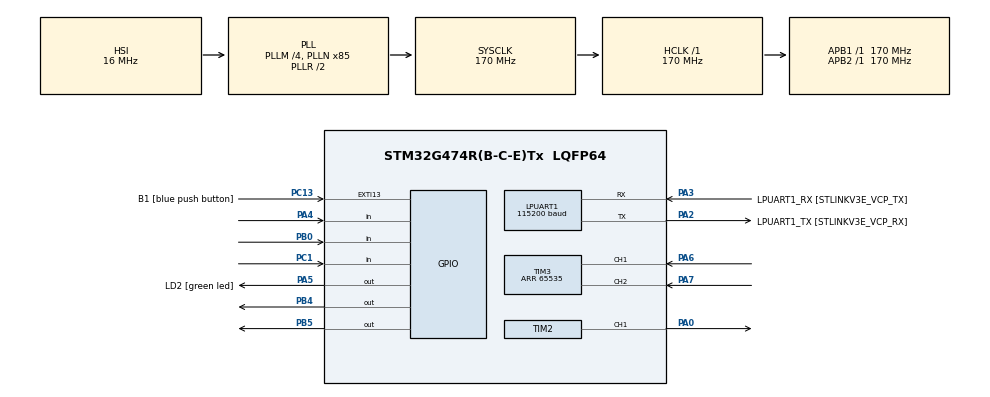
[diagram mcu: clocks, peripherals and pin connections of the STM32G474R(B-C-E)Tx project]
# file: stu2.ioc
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ARM.CMSIS-DSP.1.15.0.CMSISJjDSP=Source
LPUART1.BaudRate=115200
LPUART1.WordLength=UART_WORDLENGTH_8B
Mcu.Family=STM32G4
Mcu.Name=STM32G474R(B-C-E)Tx
Mcu.Package=LQFP64
NVIC.EXTI15_10_IRQn=true\:0\:0\:false\:false\:true\:true\:true\:true
NVIC.PriorityGroup=NVIC_PRIORITYGROUP_4
NVIC.TIM5_IRQn=true\:0\:0\:false\:false\:true\:true\:true\:true
PA0.Signal=S_TIM2_CH1
PA13.GPIO_Label=T_SWDIO
PA13.Mode=Trace_Asynchronous_SW
PA13.Signal=SYS_JTMS-SWDIO
PA14.GPIO_Label=T_SWCLK
PA14.Mode=Trace_Asynchronous_SW
PA14.Signal=SYS_JTCK-SWCLK
PA2.GPIO_Label=LPUART1_TX [STLINKV3E_VCP_RX]
PA2.Mode=Asynchronous
PA2.Signal=LPUART1_TX
PA3.GPIO_Label=LPUART1_RX [STLINKV3E_VCP_TX]
PA3.Mode=Asynchronous
PA3.Signal=LPUART1_RX
PA4.GPIO_PuPd=GPIO_PULLUP
PA4.Signal=GPIO_Input
PA5.GPIO_Label=LD2 [green led]
PA5.Signal=GPIO_Output
PA6.Signal=S_TIM3_CH1
PA7.Signal=S_TIM3_CH2
PB0.GPIO_PuPd=GPIO_PULLUP
PB0.Signal=GPIO_Input
PB3.GPIO_Label=T_SWO
PB3.Mode=Trace_Asynchronous_SW
PB3.Signal=SYS_JTDO-SWO
PB4.Signal=GPIO_Output
PB5.Signal=GPIO_Output
PC1.GPIO_PuPd=GPIO_PULLUP
PC1.Signal=GPIO_Input
PC13.GPIO_Label=B1 [blue push button]
PC13.Signal=GPXTI13
PC14-OSC32_IN.Mode=LSE-External-Oscillator
PC14-OSC32_IN.Signal=RCC_OSC32_IN
PC15-OSC32_OUT.Mode=LSE-External-Oscillator
PC15-OSC32_OUT.Signal=RCC_OSC32_OUT
PF0-OSC_IN.Mode=HSE-External-Oscillator
PF0-OSC_IN.Signal=RCC_OSC_IN
PF1-OSC_OUT.Mode=HSE-External-Oscillator
PF1-OSC_OUT.Signal=RCC_OSC_OUT
ProjectManager.HeapSize=0x200
ProjectManager.StackSize=0x400
ProjectManager.TargetToolchain=STM32CubeIDE
RCC.ADC12Freq_Value=170000000
RCC.ADC345Freq_Value=170000000
RCC.AHBFreq_Value=170000000
RCC.APB1Freq_Value=170000000
RCC.APB1TimFreq_Value=170000000
RCC.APB2Freq_Value=170000000
RCC.APB2TimFreq_Value=170000000
RCC.CortexFreq_Value=170000000
RCC.EXTERNAL_CLOCK_VALUE=12288000
RCC.HCLKFreq_Value=170000000
RCC.HSE_VALUE=24000000
RCC.HSI48_VALUE=48000000
RCC.HSI_VALUE=16000000
RCC.PLLM=RCC_PLLM_DIV4
RCC.PLLN=85
RCC.RTCClockSelection=RCC_RTCCLKSOURCE_LSE
RCC.SYSCLKFreq_VALUE=170000000
RCC.SYSCLKSource=RCC_SYSCLKSOURCE_PLLCLK
RCC.USBFreq_Value=170000000
RCC.VCOOutputFreq_Value=340000000
SH.S_TIM2_CH1.0=TIM2_CH1,PWM Generation1 CH1
SH.S_TIM3_CH1.0=TIM3_CH1,Encoder_Interface
SH.S_TIM3_CH2.0=TIM3_CH2,Encoder_Interface
TIM2.Channel-PWM\ Generation1\ CH1=TIM_CHANNEL_1
TIM2.PeriodNoDither=1000
TIM2.Prescaler=17-1
TIM3.EncoderMode=TIM_ENCODERMODE_X1_TI1
TIM3.PeriodNoDither=65535
TIM5.PeriodNoDither=1000
TIM5.Prescaler=170-1
TIM5.TIM_MasterOutputTrigger=TIM_TRGO_RESET
VP_ARM.CMSIS-DSP_VS_CMSISJjDSP_1.15.0_1.15.0.Mode=CMSISJjDSP
VP_SYS_VS_DBSignals.Mode=DisableDeadBatterySignals
VP_TIM2_VS_ClockSourceINT.Mode=Internal
VP_TIM5_VS_ClockSourceINT.Mode=Internal
board=NUCLEO-G474RE

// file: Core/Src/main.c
/* USER CODE BEGIN Header */
/**
  ******************************************************************************
  * @file           : main.c
  * @brief          : Main program body
  ******************************************************************************
  * @attention
  *
  * Copyright (c) 2024 STMicroelectronics.
  * All rights reserved.
  *
  * This software is licensed under terms that can be found in the LICENSE file
  * in the root directory of this software component.
  * If no LICENSE file comes with this software, it is provided AS-IS.
  *
  ******************************************************************************
  */
/* USER CODE END Header */
#include "main.h"

/* USER CODE BEGIN Includes */
#include "arm_math.h"
/* USER CODE END Includes */

UART_HandleTypeDef hlpuart1;

TIM_HandleTypeDef htim2;
TIM_HandleTypeDef htim3;
TIM_HandleTypeDef htim5;

/* USER CODE BEGIN PV */
arm_pid_instance_f32 PID = {0};

int16_t QEIReadRaw;
int16_t QEIReadOld;
int32_t pos;
int32_t spd;
int32_t set_pos; //posi encdoder
int16_t ch1;
int16_t ch2;

float Vfeedback = 0;

int16_t posi; //mm

float setSpd;//0-1000 (for real 500)
float setSpd_joy;

int32_t maxSpd;
int32_t posMM; //pos -> posMM

int b1;
int state_b1;

int state;

int b2;
int state_b2;

int b3;
int state_b3;

int mode;
int bm;

/* USER CODE END PV */

void SystemClock_Config(void);
static void MX_GPIO_Init(void);
static void MX_LPUART1_UART_Init(void);
static void MX_TIM3_Init(void);
static void MX_TIM5_Init(void);
static void MX_TIM2_Init(void);

int main(void)
{

  /* MCU Configuration--------------------------------------------------------*/

  /* Reset of all peripherals, Initializes the Flash interface and the Systick. */
  HAL_Init();

  /* Configure the system clock */
  SystemClock_Config();

  /* Initialize all configured peripherals */
  MX_GPIO_Init();
  MX_LPUART1_UART_Init();
  MX_TIM3_Init();
  MX_TIM5_Init();
  MX_TIM2_Init();
  /* USER CODE BEGIN 2 */
  HAL_TIM_Encoder_Start(&htim3,TIM_CHANNEL_ALL);
  HAL_TIM_Base_Start_IT(&htim5);
  HAL_TIM_PWM_Start(&htim2, TIM_CHANNEL_1);
  HAL_TIM_PWM_Start(&htim2, TIM_CHANNEL_2);

  PID.Kp = 0.001;
  PID.Ki = 0;
  PID.Kd = 0;
  arm_pid_init_f32(&PID, 0);
  /* USER CODE END 2 */

  /* Infinite loop */
  while (1)
  {

    /* USER CODE BEGIN 3 */

	  bm = HAL_GPIO_ReadPin(GPIOC, GPIO_PIN_13);
	  b3 = HAL_GPIO_ReadPin(GPIOA, GPIO_PIN_4);
	  b2 = HAL_GPIO_ReadPin(GPIOB, GPIO_PIN_0);
	  b1 = HAL_GPIO_ReadPin(GPIOC, GPIO_PIN_1);
	  arm_pid_init_f32(&PID, 0);
	  setSpd = 500;
	  state_b1 = 0;
	  state_b2 = 0;

//	  if(bm == 1){
//		  state = 1;
//
//	  }
//	  if(state == 1){
//	  	state = 0;
//	  	if(bm == 0){
//	  		mode = !mode;
//	  	}
//	  }

//	  }else if(bm == 0){state = 0;}

	  if(mode == 0){
	  if(spd > maxSpd)
	  		  {
	  			  maxSpd = spd;
	  		  }

	  	  	  posMM = pos / 250 * 8 / 1;

	  		  set_pos = posi * 250 / 8 * 1;
	  		  if(Vfeedback > setSpd){
	  			  Vfeedback = setSpd;
	  		  }
	  		  if(Vfeedback < -setSpd){
	  			Vfeedback = -setSpd;
	  		  }

	  		  if(Vfeedback > 0)
	  		  {
	  			  HAL_GPIO_WritePin(GPIOB, GPIO_PIN_4, SET);
	  			  HAL_GPIO_WritePin(GPIOB, GPIO_PIN_5, RESET);
	  			  __HAL_TIM_SET_COMPARE(&htim2, TIM_CHANNEL_1, Vfeedback);
	  		  }
	  		  else
	  		  {
	  			  HAL_GPIO_WritePin(GPIOB, GPIO_PIN_4, RESET);
	  			  HAL_GPIO_WritePin(GPIOB, GPIO_PIN_5, SET);
	  			  __HAL_TIM_SET_COMPARE(&htim2, TIM_CHANNEL_1, -Vfeedback);
	  		  }
	  }
	  else if(mode == 1){
		  Joy_control();
	  }
//	  		  MODE_1st();

  }
  /* USER CODE END 3 */
}

void SystemClock_Config(void)
{
  RCC_OscInitTypeDef RCC_OscInitStruct = {0};
  RCC_ClkInitTypeDef RCC_ClkInitStruct = {0};

  /** Configure the main internal regulator output voltage
  */
  HAL_PWREx_ControlVoltageScaling(PWR_REGULATOR_VOLTAGE_SCALE1_BOOST);

  /** Initializes the RCC Oscillators according to the specified parameters
  * in the RCC_OscInitTypeDef structure.
  */
  RCC_OscInitStruct.OscillatorType = RCC_OSCILLATORTYPE_HSI;
  RCC_OscInitStruct.HSIState = RCC_HSI_ON;
  RCC_OscInitStruct.HSICalibrationValue = RCC_HSICALIBRATION_DEFAULT;
  RCC_OscInitStruct.PLL.PLLState = RCC_PLL_ON;
  RCC_OscInitStruct.PLL.PLLSource = RCC_PLLSOURCE_HSI;
  RCC_OscInitStruct.PLL.PLLM = RCC_PLLM_DIV4;
  RCC_OscInitStruct.PLL.PLLN = 85;
  RCC_OscInitStruct.PLL.PLLP = RCC_PLLP_DIV2;
  RCC_OscInitStruct.PLL.PLLQ = RCC_PLLQ_DIV2;
  RCC_OscInitStruct.PLL.PLLR = RCC_PLLR_DIV2;
  if (HAL_RCC_OscConfig(&RCC_OscInitStruct) != HAL_OK)
  {
    Error_Handler();
  }

  /** Initializes the CPU, AHB and APB buses clocks
  */
  RCC_ClkInitStruct.ClockType = RCC_CLOCKTYPE_HCLK|RCC_CLOCKTYPE_SYSCLK
                              |RCC_CLOCKTYPE_PCLK1|RCC_CLOCKTYPE_PCLK2;
  RCC_ClkInitStruct.SYSCLKSource = RCC_SYSCLKSOURCE_PLLCLK;
  RCC_ClkInitStruct.AHBCLKDivider = RCC_SYSCLK_DIV1;
  RCC_ClkInitStruct.APB1CLKDivider = RCC_HCLK_DIV1;
  RCC_ClkInitStruct.APB2CLKDivider = RCC_HCLK_DIV1;

  if (HAL_RCC_ClockConfig(&RCC_ClkInitStruct, FLASH_LATENCY_4) != HAL_OK)
  {
    Error_Handler();
  }
}

static void MX_LPUART1_UART_Init(void)
{

  hlpuart1.Instance = LPUART1;
  hlpuart1.Init.BaudRate = 115200;
  hlpuart1.Init.WordLength = UART_WORDLENGTH_8B;
  hlpuart1.Init.StopBits = UART_STOPBITS_1;
  hlpuart1.Init.Parity = UART_PARITY_NONE;
  hlpuart1.Init.Mode = UART_MODE_TX_RX;
  hlpuart1.Init.HwFlowCtl = UART_HWCONTROL_NONE;
  hlpuart1.Init.OneBitSampling = UART_ONE_BIT_SAMPLE_DISABLE;
  hlpuart1.Init.ClockPrescaler = UART_PRESCALER_DIV1;
  hlpuart1.AdvancedInit.AdvFeatureInit = UART_ADVFEATURE_NO_INIT;
  if (HAL_UART_Init(&hlpuart1) != HAL_OK)
  {
    Error_Handler();
  }
  if (HAL_UARTEx_SetTxFifoThreshold(&hlpuart1, UART_TXFIFO_THRESHOLD_1_8) != HAL_OK)
  {
    Error_Handler();
  }
  if (HAL_UARTEx_SetRxFifoThreshold(&hlpuart1, UART_RXFIFO_THRESHOLD_1_8) != HAL_OK)
  {
    Error_Handler();
  }
  if (HAL_UARTEx_DisableFifoMode(&hlpuart1) != HAL_OK)
  {
    Error_Handler();
  }

}

static void MX_TIM2_Init(void)
{

  TIM_ClockConfigTypeDef sClockSourceConfig = {0};
  TIM_MasterConfigTypeDef sMasterConfig = {0};
  TIM_OC_InitTypeDef sConfigOC = {0};

  htim2.Instance = TIM2;
  htim2.Init.Prescaler = 17-1;
  htim2.Init.CounterMode = TIM_COUNTERMODE_UP;
  htim2.Init.Period = 1000;
  htim2.Init.ClockDivision = TIM_CLOCKDIVISION_DIV1;
  htim2.Init.AutoReloadPreload = TIM_AUTORELOAD_PRELOAD_DISABLE;
  if (HAL_TIM_Base_Init(&htim2) != HAL_OK)
  {
    Error_Handler();
  }
  sClockSourceConfig.ClockSource = TIM_CLOCKSOURCE_INTERNAL;
  if (HAL_TIM_ConfigClockSource(&htim2, &sClockSourceConfig) != HAL_OK)
  {
    Error_Handler();
  }
  if (HAL_TIM_PWM_Init(&htim2) != HAL_OK)
  {
    Error_Handler();
  }
  sMasterConfig.MasterOutputTrigger = TIM_TRGO_RESET;
  sMasterConfig.MasterSlaveMode = TIM_MASTERSLAVEMODE_DISABLE;
  if (HAL_TIMEx_MasterConfigSynchronization(&htim2, &sMasterConfig) != HAL_OK)
  {
    Error_Handler();
  }
  sConfigOC.OCMode = TIM_OCMODE_PWM1;
  sConfigOC.Pulse = 0;
  sConfigOC.OCPolarity = TIM_OCPOLARITY_HIGH;
  sConfigOC.OCFastMode = TIM_OCFAST_DISABLE;
  if (HAL_TIM_PWM_ConfigChannel(&htim2, &sConfigOC, TIM_CHANNEL_1) != HAL_OK)
  {
    Error_Handler();
  }
  HAL_TIM_MspPostInit(&htim2);

}

static void MX_TIM3_Init(void)
{

  TIM_Encoder_InitTypeDef sConfig = {0};
  TIM_MasterConfigTypeDef sMasterConfig = {0};

  htim3.Instance = TIM3;
  htim3.Init.Prescaler = 0;
  htim3.Init.CounterMode = TIM_COUNTERMODE_UP;
  htim3.Init.Period = 65535;
  htim3.Init.ClockDivision = TIM_CLOCKDIVISION_DIV1;
  htim3.Init.AutoReloadPreload = TIM_AUTORELOAD_PRELOAD_DISABLE;
  sConfig.EncoderMode = TIM_ENCODERMODE_X1_TI1;
  sConfig.IC1Polarity = TIM_ICPOLARITY_RISING;
  sConfig.IC1Selection = TIM_ICSELECTION_DIRECTTI;
  sConfig.IC1Prescaler = TIM_ICPSC_DIV1;
  sConfig.IC1Filter = 0;
  sConfig.IC2Polarity = TIM_ICPOLARITY_RISING;
  sConfig.IC2Selection = TIM_ICSELECTION_DIRECTTI;
  sConfig.IC2Prescaler = TIM_ICPSC_DIV1;
  sConfig.IC2Filter = 0;
  if (HAL_TIM_Encoder_Init(&htim3, &sConfig) != HAL_OK)
  {
    Error_Handler();
  }
  sMasterConfig.MasterOutputTrigger = TIM_TRGO_RESET;
  sMasterConfig.MasterSlaveMode = TIM_MASTERSLAVEMODE_DISABLE;
  if (HAL_TIMEx_MasterConfigSynchronization(&htim3, &sMasterConfig) != HAL_OK)
  {
    Error_Handler();
  }

}

static void MX_TIM5_Init(void)
{

  TIM_ClockConfigTypeDef sClockSourceConfig = {0};
  TIM_MasterConfigTypeDef sMasterConfig = {0};

  htim5.Instance = TIM5;
  htim5.Init.Prescaler = 170-1;
  htim5.Init.CounterMode = TIM_COUNTERMODE_UP;
  htim5.Init.Period = 1000;
  htim5.Init.ClockDivision = TIM_CLOCKDIVISION_DIV1;
  htim5.Init.AutoReloadPreload = TIM_AUTORELOAD_PRELOAD_DISABLE;
  if (HAL_TIM_Base_Init(&htim5) != HAL_OK)
  {
    Error_Handler();
  }
  sClockSourceConfig.ClockSource = TIM_CLOCKSOURCE_INTERNAL;
  if (HAL_TIM_ConfigClockSource(&htim5, &sClockSourceConfig) != HAL_OK)
  {
    Error_Handler();
  }
  sMasterConfig.MasterOutputTrigger = TIM_TRGO_RESET;
  sMasterConfig.MasterSlaveMode = TIM_MASTERSLAVEMODE_DISABLE;
  if (HAL_TIMEx_MasterConfigSynchronization(&htim5, &sMasterConfig) != HAL_OK)
  {
    Error_Handler();
  }

}

static void MX_GPIO_Init(void)
{
  GPIO_InitTypeDef GPIO_InitStruct = {0};

  /* GPIO Ports Clock Enable */
  __HAL_RCC_GPIOC_CLK_ENABLE();
  __HAL_RCC_GPIOF_CLK_ENABLE();
  __HAL_RCC_GPIOA_CLK_ENABLE();
  __HAL_RCC_GPIOB_CLK_ENABLE();

  /*Configure GPIO pin Output Level */
  HAL_GPIO_WritePin(LD2_GPIO_Port, LD2_Pin, GPIO_PIN_RESET);

  /*Configure GPIO pin Output Level */
  HAL_GPIO_WritePin(GPIOB, GPIO_PIN_4|GPIO_PIN_5, GPIO_PIN_RESET);

  /*Configure GPIO pin : B1_Pin */
  GPIO_InitStruct.Pin = B1_Pin;
  GPIO_InitStruct.Mode = GPIO_MODE_IT_RISING;
  GPIO_InitStruct.Pull = GPIO_NOPULL;
  HAL_GPIO_Init(B1_GPIO_Port, &GPIO_InitStruct);

  /*Configure GPIO pin : PC1 */
  GPIO_InitStruct.Pin = GPIO_PIN_1;
  GPIO_InitStruct.Mode = GPIO_MODE_INPUT;
  GPIO_InitStruct.Pull = GPIO_PULLUP;
  HAL_GPIO_Init(GPIOC, &GPIO_InitStruct);

  /*Configure GPIO pin : PA4 */
  GPIO_InitStruct.Pin = GPIO_PIN_4;
  GPIO_InitStruct.Mode = GPIO_MODE_INPUT;
  GPIO_InitStruct.Pull = GPIO_PULLUP;
  HAL_GPIO_Init(GPIOA, &GPIO_InitStruct);

  /*Configure GPIO pin : LD2_Pin */
  GPIO_InitStruct.Pin = LD2_Pin;
  GPIO_InitStruct.Mode = GPIO_MODE_OUTPUT_PP;
  GPIO_InitStruct.Pull = GPIO_NOPULL;
  GPIO_InitStruct.Speed = GPIO_SPEED_FREQ_LOW;
  HAL_GPIO_Init(LD2_GPIO_Port, &GPIO_InitStruct);

  /*Configure GPIO pin : PB0 */
  GPIO_InitStruct.Pin = GPIO_PIN_0;
  GPIO_InitStruct.Mode = GPIO_MODE_INPUT;
  GPIO_InitStruct.Pull = GPIO_PULLUP;
  HAL_GPIO_Init(GPIOB, &GPIO_InitStruct);

  /*Configure GPIO pins : PB4 PB5 */
  GPIO_InitStruct.Pin = GPIO_PIN_4|GPIO_PIN_5;
  GPIO_InitStruct.Mode = GPIO_MODE_OUTPUT_PP;
  GPIO_InitStruct.Pull = GPIO_NOPULL;
  GPIO_InitStruct.Speed = GPIO_SPEED_FREQ_LOW;
  HAL_GPIO_Init(GPIOB, &GPIO_InitStruct);

  /* EXTI interrupt init*/
  HAL_NVIC_SetPriority(EXTI15_10_IRQn, 0, 0);
  HAL_NVIC_EnableIRQ(EXTI15_10_IRQn);

}

/* USER CODE BEGIN 4 */
void HAL_TIM_PeriodElapsedCallback(TIM_HandleTypeDef *htim)
{
  if (htim == &htim5 )
  {
	  QEIReadRaw = __HAL_TIM_GET_COUNTER(&htim3);
	  spd =  QEIReadRaw * 1000 / 250 * 8;
	  pos += QEIReadRaw;
	  QEIReadOld = QEIReadRaw;
	  __HAL_TIM_SET_COUNTER(&htim3, 0);

	  Vfeedback = (arm_pid_f32(&PID, set_pos - pos) * 1000);
  }
}

void Joy_control(){

	// b3 pos+
	// b2 pos-
	// b1 memory
//	Mode = 2;
	posMM = pos / 250 * 8 / 1;

	if (b1 == 0){
		state_b1 = 1;
		HAL_GPIO_WritePin(GPIOB, GPIO_PIN_4, RESET);
		HAL_GPIO_WritePin(GPIOB, GPIO_PIN_5, SET);
		__HAL_TIM_SET_COMPARE(&htim2, TIM_CHANNEL_1, setSpd_joy);

	}

	else if (b2 == 0)
	{
			state_b2 = 1;
			HAL_GPIO_WritePin(GPIOB, GPIO_PIN_4, SET);
			HAL_GPIO_WritePin(GPIOB, GPIO_PIN_5, RESET);
			__HAL_TIM_SET_COMPARE(&htim2, TIM_CHANNEL_1, setSpd_joy);

	}
	else if(b2 == 1 && b1 == 1)
	{
			__HAL_TIM_SET_COMPARE(&htim2, TIM_CHANNEL_1, 0);
	}
	else if(b2 == 0 && b1 == 0)
		{
				__HAL_TIM_SET_COMPARE(&htim2, TIM_CHANNEL_1, 0);
		}
	if (b3 == 0){
		posi = posMM;
//		state = posMM;
	}

}

//void MODE_1st(){
//
//	if(mode == 0){
//		if(Vfeedback > 0)
//		  {
//			  HAL_GPIO_WritePin(GPIOB, GPIO_PIN_4, SET);
//			  HAL_GPIO_WritePin(GPIOB, GPIO_PIN_5, RESET);
//			  __HAL_TIM_SET_COMPARE(&htim2, TIM_CHANNEL_1, Vfeedback);
//		  }
//		  else
//		  {
//			  HAL_GPIO_WritePin(GPIOB, GPIO_PIN_4, RESET);
//			  HAL_GPIO_WritePin(GPIOB, GPIO_PIN_5, SET);
//			  __HAL_TIM_SET_COMPARE(&htim2, TIM_CHANNEL_1, -Vfeedback);
//		  }
//
//	}
//
//
//
//	if(mode == 1){Joy_control();}
//
//
//
//}

//	HAL_GPIO_WritePin(GPIOB, GPIO_PIN_4, RESET);
//	HAL_GPIO_WritePin(GPIOB, GPIO_PIN_5, SET);
//	__HAL_TIM_SET_COMPARE(&htim2, TIM_CHANNEL_1, -Vfeedback);

/* USER CODE END 4 */

void Error_Handler(void)
{
  __disable_irq();
  while (1)
  {
  }
}
